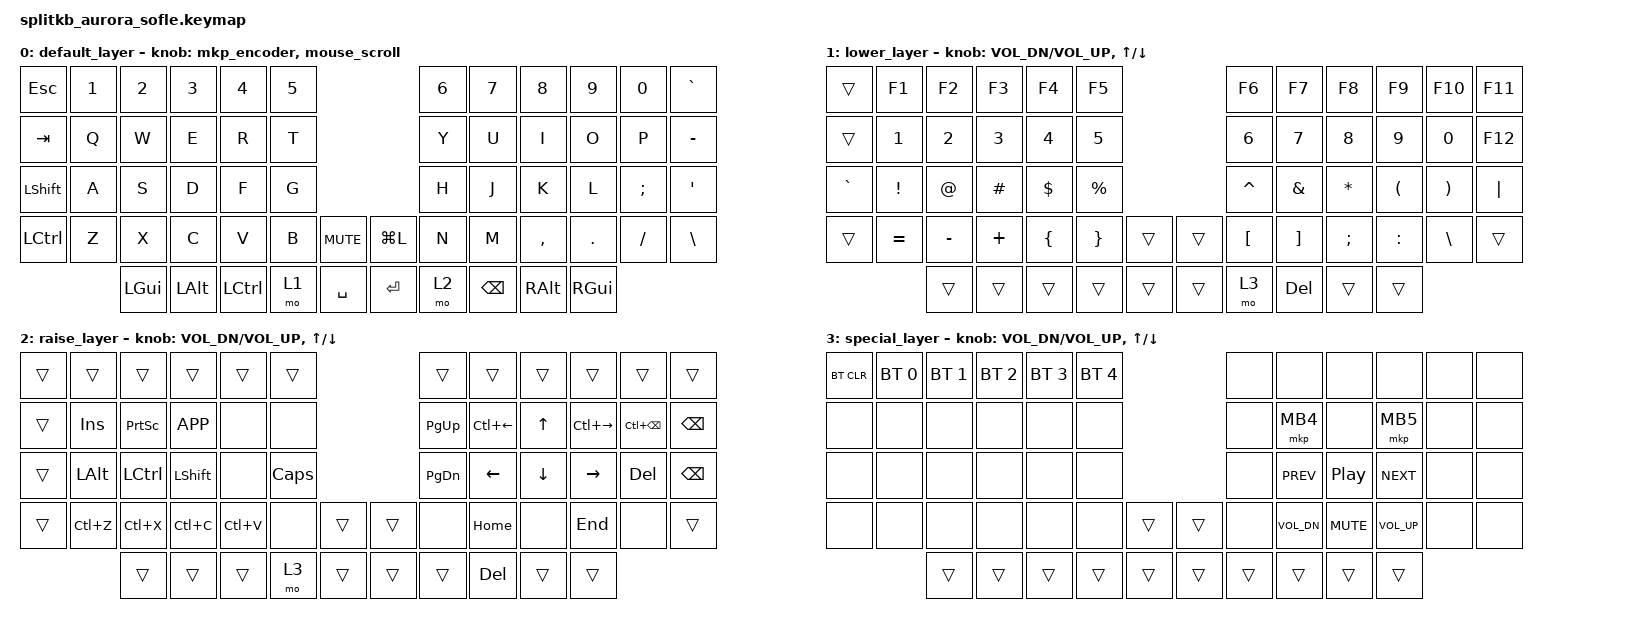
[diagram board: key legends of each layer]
/*
 * Copyright (c) 2023 The ZMK Contributors
 *
 * SPDX-License-Identifier: MIT
 */

#include <behaviors.dtsi>
#include <dt-bindings/zmk/keys.h>
#include <dt-bindings/zmk/bt.h>
#include <dt-bindings/zmk/ext_power.h>
#include <dt-bindings/zmk/mouse.h>

#define ZMK_MOUSE_SCRL_VAL 140

/ {
    behaviors {
        mkp_encoder: mkp_encoder {
            compatible = "zmk,behavior-sensor-rotate";
            #sensor-binding-cells = <0>;
            bindings = <&mkp MB4>, <&mkp MB5>;
            tap-ms = <20>;
        };

        // See https://github.com/zmkfirmware/zmk/issues/72
        mouse_scroll: behavior_sensor_rotate_mouse_wheel_up_down {
            compatible = "zmk,behavior-sensor-rotate";
            #sensor-binding-cells = <0>;
            bindings = <&mwh>, <&mwh>;
            tap-ms = <20>;
        }
    };

    keymap {
        compatible = "zmk,keymap";

        default_layer {
// ------------------------------------------------------------------------------------------------------------
// |  ESC  |  1  |  2  |  3   |  4   |  5   |                   |  6   |  7    |  8    |  9   |   0   |   `   |
// |  TAB  |  Q  |  W  |  E   |  R   |  T   |                   |  Y   |  U    |  I    |  O   |   P   |   -   |
// |  SHIFT|  A  |  S  |  D   |  F   |  G   |                   |  H   |  J    |  K    |  L   |   ;   |   '   |
// |  CTRL |  Z  |  X  |  C   |  V   |  B   |  MUTE  |  | GUI(L)|  N   |  M    |  ,    |  .   |   /   |   \   |
//               |GUI | ALT  | CTRL  | LOWER|  SPACE |  | ENTER | RAISE| BSPC  |  RALT | GUI |
            bindings = <
&kp ESC   &kp N1 &kp N2    &kp N3   &kp N4   &kp N5                      &kp N6 &kp N7   &kp N8    &kp N9   &kp N0   &kp GRAVE
&kp TAB   &kp Q  &kp W     &kp E    &kp R    &kp T                       &kp Y  &kp U    &kp I     &kp O    &kp P    &kp MINUS
&kp LSHFT &kp A  &kp S     &kp D    &kp F    &kp G                       &kp H  &kp J    &kp K     &kp L    &kp SEMI &kp SQT
&kp LCTRL &kp Z  &kp X     &kp C    &kp V    &kp B  &kp C_MUTE &kp LG(L) &kp N  &kp M    &kp COMMA &kp DOT  &kp FSLH &kp BSLH
                 &kp LGUI &kp LALT &kp LCTRL &mo 1  &kp SPACE  &kp RET   &mo 2  &kp BSPC &kp RALT  &kp RGUI
            >;

            sensor-bindings =
                <&mkp_encoder>,   // Left  encoder
                <&mouse_scroll>;  // Right encoder
        };

        lower_layer {
// ------------------------------------------------------------------------------------------------------------
// |       |  F1 |  F2 |  F3  |  F4  |  F5  |                   |  F6  |  F7   |  F8   |  F9  |  F10  |  F11  |
// |   `   |  1  |  2  |  3   |  4   |  5   |                   |  6   |  7    |  8    |  9   |  0    |  F12  |
// |       |  !  |  @  |  #   |  $   |  %   |                   |  ^   |  &    |  *    |  (   |   )   |  "|"  |
// |       |  =  |  -  |  +   |  {   |  }   |        |  |       |  [   |  ]    |  ;    |  :   |   \   |       |
//               |     |      |      |      |        |  |       | SPEC |  DEL  |       |      |
            bindings = <
&trans     &kp F1           &kp F2            &kp F3            &kp F4       &kp F5                       &kp F6    &kp F7    &kp F8    &kp F9    &kp F10   &kp F11
&trans     &kp N1           &kp N2            &kp N3            &kp N4       &kp N5                       &kp N6    &kp N7    &kp N8    &kp N9    &kp N0    &kp F12
&kp GRAVE  &kp EXCL         &kp AT            &kp HASH          &kp DOLLAR   &kp PRCNT                    &kp CARET &kp AMPS  &kp STAR  &kp LPAR  &kp RPAR  &kp PIPE
&trans     &kp EQUAL        &kp MINUS         &kp PLUS          &kp LBRC     &kp RBRC  &trans   &trans    &kp LBKT  &kp RBKT  &kp SEMI  &kp COLON &kp BSLH  &trans
                            &trans            &trans            &trans       &trans    &trans   &trans    &mo 3     &kp DEL   &trans    &trans
            >;

            sensor-bindings =
                <&inc_dec_kp C_VOL_DN C_VOL_UP >, // Left  encoder
                <&inc_dec_kp UP       DOWN>;      // Right encoder
        };

        raise_layer {
// ------------------------------------------------------------------------------------------------------------
// |       |     |      |      |      |      |                   |      |       |       |        |       |       |
// |       | INS | PRNT |  APP | XXXX | XXXX |                   | PG_UP|C(LEFT)|   UP  |C(RIGHT)|C(BSPC)|  BSPC |
// |       |LALT | LCTRL| LSHFT| XXXX | CAPS |                   | PG_DN|  LEFT |  DOWN | RIGHT  |  DEL  |  BSPC |
// |       | C(Z)| C(X) | C(C) | C(V) | XXXX |        |  |       | XXXX |  HOME |  XXXX | END    |  XXXX |       |
//               |      |      |      | SPEC |        |  |       |      |  DEL  |       |        |
            bindings = <
&trans  &trans    &trans     &trans     &trans    &trans                       &trans      &trans       &trans    &trans        &trans       &trans
&trans  &kp INS   &kp PSCRN  &kp K_APP  &none     &none                        &kp PG_UP   &kp LC(LEFT) &kp UP    &kp LC(RIGHT) &kp LC(BSPC) &kp BSPC
&trans  &kp LALT  &kp LCTRL  &kp LSHFT  &none     &kp CAPS                     &kp PG_DN   &kp LEFT     &kp DOWN  &kp RIGHT     &kp DEL      &kp BSPC
&trans  &kp LC(Z) &kp LC(X)  &kp LC(C)  &kp LC(V) &none     &trans   &trans    &none       &kp HOME     &none     &kp END       &none        &trans
                  &trans     &trans     &trans    &mo 3     &trans   &trans    &trans      &kp DEL      &trans    &trans
            >;

            sensor-bindings =
                <&inc_dec_kp C_VOL_DN C_VOL_UP >, // Left  encoder
                <&inc_dec_kp UP       DOWN>;      // Right encoder
        };

        special_layer {
// ------------------------------------------------------------------------------------------------------------
// | BTCLR | BT1 | BT2 |  BT3 |  BT4 |  BT5 |                   | XXXX | XXXX     | XXXX     | XXXX     |  XXXX |  XXXX |
// | XXXX  | XXXX|XXXX | XXXX | XXXX | XXXX |                   | XXXX | M_BACK   |  XXXX    | M_FWD    |  XXXX |  XXXX |
// | XXXX  | XXXX|XXXX | XXXX | XXXX | XXXX |                   | XXXX | C_PREV   | C_PLYPS  | C_NEXT   |  XXXX |  XXXX |
// | XXXX  | XXXX|XXXX | XXXX | XXXX | XXXX |        |  |       | XXXX | C_VOL_DN | C_MUTE   | C_VOL_UP |  XXXX |  XXXX |
//               |     |      |      |      |        |  |       |      |          |          |          |
            bindings = <
&bt BT_CLR &bt BT_SEL 0     &bt BT_SEL 1      &bt BT_SEL 2      &bt BT_SEL 3 &bt BT_SEL 4                 &none    &none        &none       &none         &none     &none
&none      &none            &none             &none             &none        &none                        &none    &mkp MB4     &none       &mkp MB5      &none     &none
&none      &none            &none             &none             &none        &none                        &none    &kp C_PREV   &kp C_PP    &kp C_NEXT    &none     &none
&none      &none            &none             &none             &none        &none     &trans   &trans    &none    &kp C_VOL_DN &kp C_MUTE  &kp C_VOL_UP  &none     &none
                            &trans            &trans            &trans       &trans    &trans   &trans    &trans   &trans       &trans      &trans
            >;

            sensor-bindings =
                <&inc_dec_kp C_VOL_DN C_VOL_UP >, // Left  encoder
                <&inc_dec_kp UP       DOWN>;      // Right encoder
        };
    };
};
